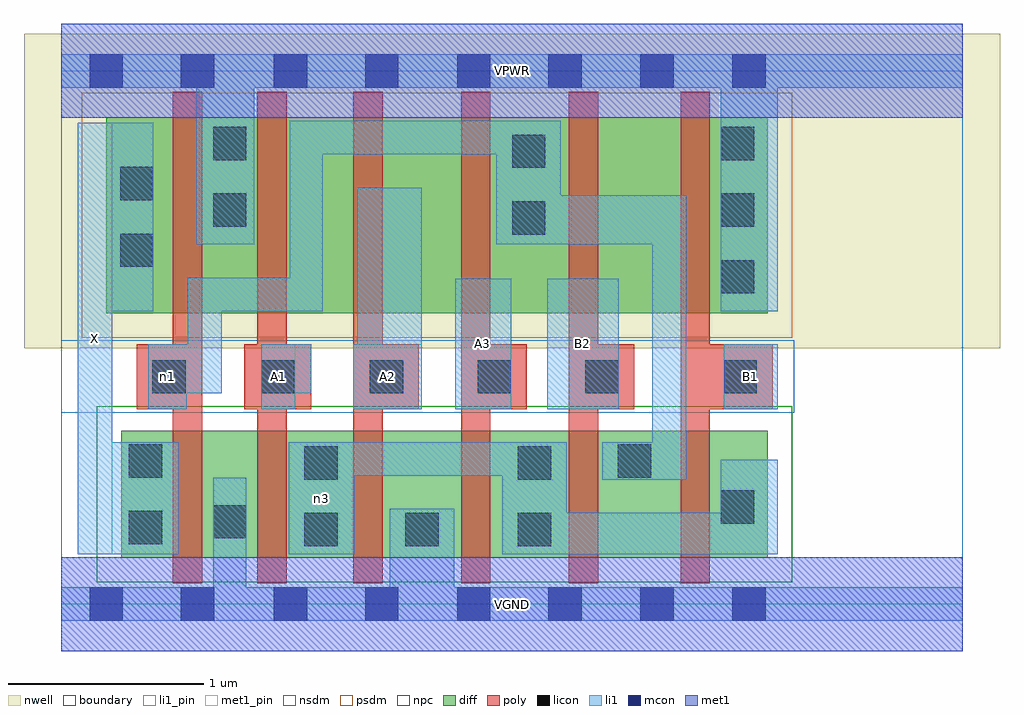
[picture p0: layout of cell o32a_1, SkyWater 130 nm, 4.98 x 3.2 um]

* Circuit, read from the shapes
.subckt o32a_1 A1 A2 A3 B1 B2 VGND VPWR X n1 n3
XM1 VGND n1 X VSUBS sky130_fd_pr__nfet_01v8 w=0.65 l=0.15
XM2 n3 A1 VGND VSUBS sky130_fd_pr__nfet_01v8 w=0.65 l=0.15
XM3 VGND A2 n3 VSUBS sky130_fd_pr__nfet_01v8 w=0.65 l=0.15
XM4 n3 A3 VGND VSUBS sky130_fd_pr__nfet_01v8 w=0.65 l=0.15
XM5 n1 B2 n3 VSUBS sky130_fd_pr__nfet_01v8 w=0.65 l=0.15
XM6 n3 B1 n1 VSUBS sky130_fd_pr__nfet_01v8 w=0.65 l=0.15
XM7 VPWR n1 X n2 sky130_fd_pr__pfet_01v8 w=1 l=0.15
XM8 n4 A1 VPWR n2 sky130_fd_pr__pfet_01v8 w=1 l=0.15
XM9 n5 A2 n4 n2 sky130_fd_pr__pfet_01v8 w=1 l=0.15
XM10 n1 A3 n5 n2 sky130_fd_pr__pfet_01v8 w=1 l=0.15
XM11 n6 B2 n1 n2 sky130_fd_pr__pfet_01v8 w=1 l=0.15
XM12 VPWR B1 n6 n2 sky130_fd_pr__pfet_01v8 w=1 l=0.15
.ends

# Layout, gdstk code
import gdstk
lib = gdstk.Library(unit=1e-6, precision=1e-09)
def R(c, l, rs):  # rectangles x0, y0, x1, y1
    for r in rs: c.add(gdstk.rectangle(r[:2], r[2:], *l))
def A(c, l, x, y, w, h, nx, ny, dx, dy):  # array of equal rectangles
    R(c, l, [(x+i*dx, y+j*dy, x+i*dx+w, y+j*dy+h) for i in range(nx) for j in range(ny)])
nwell = (64, 20)
diff = (65, 20)
poly = (66, 20)
licon = (66, 44)
li1_pin = (67, 16)
li1 = (67, 20)
mcon = (67, 44)
met1_pin = (68, 16)
met1 = (68, 20)
nsdm = (93, 44)
psdm = (94, 20)
npc = (95, 20)
boundary = (235, 4)

o32a_1 = lib.new_cell('o32a_1')
R(o32a_1, nwell, [(-0.19,1.305,4.79,2.91), (0,1.305,4.6,2.91)])
R(o32a_1, diff, [(0.305,0.235,3.605,0.885), (0.23,1.485,3.605,2.485)])
A(o32a_1, poly, 1.49, 0.105, 0.15, 2.51, 3, 1, 0.55, 0)
A(o32a_1, poly, 1.49, 0.995, 0.335, 0.33, 3, 1, 0.55, 0)
R(o32a_1, poly, [(0.57,0.105,0.72,2.615), (1,0.105,1.15,2.615), (3.16,0.105,3.31,2.615), (0.385,0.995,0.72,1.325), (0.935,0.995,1.275,1.325), (3.16,0.995,3.63,1.325)])
A(o32a_1, licon, 0.465, 1.075, 0.17, 0.17, 3, 1, 0.555, 0)
A(o32a_1, licon, 3.365, 1.585, 0.17, 0.17, 1, 3, 0, 0.34)
R(o32a_1, licon, [(1.24,0.295,1.41,0.465), (1.755,0.295,1.925,0.465), (2.33,0.295,2.5,0.465), (0.345,0.305,0.515,0.475), (0.775,0.335,0.945,0.505), (3.365,0.41,3.535,0.58), (1.24,0.635,1.41,0.805), (2.33,0.635,2.5,0.805), (0.345,0.645,0.515,0.815), (2.84,0.645,3.01,0.815), (2.125,1.075,2.295,1.245), (2.675,1.075,2.845,1.245), (3.38,1.075,3.55,1.245), (0.3,1.72,0.47,1.89), (2.3,1.885,2.47,2.055), (0.775,1.925,0.945,2.095), (0.3,2.06,0.47,2.23), (2.3,2.225,2.47,2.395), (0.775,2.265,0.945,2.435)])
R(o32a_1, li1_pin, [(0.085,0.255,0.26,2.455), (1.02,0.995,1.195,1.325), (1.49,0.995,1.84,1.325), (2.01,0.995,2.295,1.66), (2.48,0.995,2.845,1.66), (3.38,0.995,3.655,1.325)])
R(o32a_1, li1, [(0,-0.085,4.6,0.085), (0.775,-0.085,0.945,0.645), (1.675,-0.085,2.005,0.485), (0.085,0.255,0.26,2.455), (0.085,0.255,0.6,0.825), (1.16,0.255,1.495,0.825), (2.25,0.255,2.58,0.825), (2.25,0.255,3.655,0.465), (3.365,0.255,3.655,0.735), (2.76,0.635,3.19,0.825), (3.015,0.635,3.19,2.085), (1.16,0.655,2.58,0.825), (0.445,0.995,0.64,1.325), (1.02,0.995,1.195,1.325), (1.49,0.995,1.84,1.325), (1.51,0.995,1.84,2.125), (2.01,0.995,2.295,1.66), (2.48,0.995,2.845,1.66), (3.38,0.995,3.655,1.325), (0.445,1.075,0.82,1.325), (0.645,1.075,0.82,1.665), (1.02,1.075,1.275,1.325), (0.085,1.495,0.47,2.455), (0.645,1.495,1.335,1.665), (1.165,1.495,1.335,2.465), (3.365,1.495,3.655,2.805), (0.69,1.835,0.985,2.805), (2.22,1.835,3.19,2.085), (2.22,1.835,2.55,2.465), (1.165,2.295,2.55,2.465), (0,2.635,4.6,2.805)])
A(o32a_1, mcon, 2.485, -0.085, 0.17, 0.17, 3, 2, 0.47, 2.72)
R(o32a_1, mcon, [(0.145,-0.085,0.315,0.085), (0.61,-0.085,0.78,0.085), (1.085,-0.085,1.255,0.085), (1.55,-0.085,1.72,0.085), (2.02,-0.085,2.19,0.085), (0.145,2.635,0.315,2.805), (0.61,2.635,0.78,2.805), (1.085,2.635,1.255,2.805), (1.55,2.635,1.72,2.805), (2.02,2.635,2.19,2.805)])
R(o32a_1, met1_pin, [(0,-0.24,4.6,0.24), (0,2.48,4.6,2.96)])
R(o32a_1, met1, [(0,-0.24,4.6,0.24), (0,2.48,4.6,2.96)])
R(o32a_1, nsdm, [(0.18,0.11,3.73,1.01)])
R(o32a_1, psdm, [(0.105,1.36,3.73,2.61)])
R(o32a_1, npc, [(0,0.975,3.74,1.345)])
R(o32a_1, boundary, [(0,0,4.6,2.72)])
o32a_1.add(gdstk.Label('A1', (1.107,1.16), layer=67, texttype=5))
o32a_1.add(gdstk.Label('A2', (1.665,1.16), layer=67, texttype=5))
o32a_1.add(gdstk.Label('A3', (2.152,1.327), layer=67, texttype=5))
o32a_1.add(gdstk.Label('B1', (3.517,1.16), layer=67, texttype=5))
o32a_1.add(gdstk.Label('B2', (2.662,1.327), layer=67, texttype=5))
o32a_1.add(gdstk.Label('X', (0.172,1.355), layer=67, texttype=5))
o32a_1.add(gdstk.Label('n3', (1.327,0.54), layer=67, texttype=5))
o32a_1.add(gdstk.Label('n1', (0.542,1.16), layer=67, texttype=5))
o32a_1.add(gdstk.Label('VPWR', (2.3,2.72), layer=68, texttype=5))
o32a_1.add(gdstk.Label('VGND', (2.3,0), layer=68, texttype=5))
o32a_1.add(gdstk.Label('A1', (1.107,1.16), layer=67, texttype=16))
o32a_1.add(gdstk.Label('A2', (1.665,1.16), layer=67, texttype=16))
o32a_1.add(gdstk.Label('A3', (2.152,1.327), layer=67, texttype=16))
o32a_1.add(gdstk.Label('B1', (3.517,1.16), layer=67, texttype=16))
o32a_1.add(gdstk.Label('B2', (2.662,1.327), layer=67, texttype=16))
o32a_1.add(gdstk.Label('X', (0.172,1.355), layer=67, texttype=16))
o32a_1.add(gdstk.Label('VPWR', (2.3,2.72), layer=68, texttype=16))
o32a_1.add(gdstk.Label('VGND', (2.3,0), layer=68, texttype=16))

lib.write_gds('o32a_1.gds')
